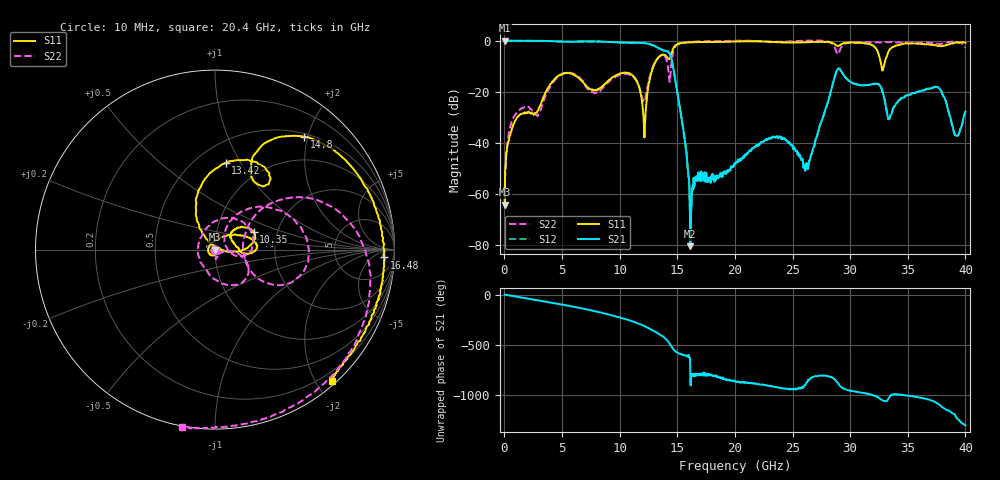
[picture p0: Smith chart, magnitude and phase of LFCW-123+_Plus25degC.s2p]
! Mini-Circuits
! S2P DATA File Format
! Type: LOW PASS FILTER
! Model: LFCW-123+
! All S Parameters are in dB deg format
! TEST CONDITIONS: INPUT POWER = 0 dBm @ Temperature = +25 deg C
# MHZ S DB R 50
!Frequency  S11 dB  S11 DEG  S21 dB  S21 DEG  S12 dB  S12 DEG  S22 dB  S22 DEG
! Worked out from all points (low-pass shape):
!   834 points, 10 MHz to 40 GHz, reference 50 ohm
!   highest |S21| = 0.13 dB at 50 MHz (marker M1); lowest = -80.6 dB at 16.12 GHz (marker M2)
!   |S21| within 3 dB of the highest: start of sweep to 13.38 GHz
!   lowest |S11| = -64.4 dB at 30 MHz (marker M3), VSWR 1.00, Z = 50 - j0.0435 ohm
!   |S11| at or under -10 dB: start of sweep to 12.93 GHz; 32.72 GHz to 32.93 GHz (205.1 MHz wide, 0.625 % of centre)
!   |S22| runs from -65.1 to 0.2 dB; largest |S21 - S12| = 0.0041
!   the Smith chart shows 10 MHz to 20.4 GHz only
!   S11 on the Smith chart (normalised r, x): 10 MHz: 1.00, -0.00; 10.35 GHz: 1.51, +0.31; 13.42 GHz: 0.68, +0.87; 14.8 GHz: 0.55, +1.94; 16.48 GHz: 21, -16; 20.4 GHz: 0.07, -2.23
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10  -61.23 -80.6  0.06 -0.0  0.06 -0.0  -59.06 -83.4
30  -64.35 -45.9  0.07 -0.6  0.06 -0.6  -65.06 -33.2
50  -51.17 157.8  0.13 -1.3  0.10 -1.3  -53.61 146.4
1050  -30.50 -96.1  0.03 -21.1  0.03 -21.1  -28.25 -67.8
6700  -15.71 -7.5  -0.24 -137.1  -0.26 -137.1  -15.27 -87.0
10350  -12.51 24.1  -0.68 119.7  -0.69 119.7  -12.93 33.8
11550  -16.55 -2.0  -0.76 74.0  -0.78 74.0  -16.69 -14.5
12140  -37.91 53.4  -0.88 45.4  -0.89 45.2  -23.55 31.4
13340  -6.65 86.8  -2.75 -29.3  -2.78 -29.3  -6.58 21.1
13420  -6.23 82.9  -2.96 -34.8  -2.98 -34.8  -6.24 15.6
14340  -7.09 61.6  -4.99 -131.3  -5.00 -131.3  -16.14 4.3
14800  -1.91 51.6  -14.61 156.4  -14.68 156.6  -2.46 12.7
15760  -0.68 13.9  -42.59 109.7  -42.77 109.4  -0.53 -35.7
16120  -0.59 5.3  -80.63 -59.3  -78.99 -52.9  -0.38 -46.5
16480  -0.52 -2.6  -57.02 -73.9  -56.96 -76.1  -0.29 -55.7
20050  -0.25 -48.0  -48.33 -147.3  -48.41 -148.3  0.00 -98.9
20400  -0.19 -48.3  -46.43 -157.4  -46.50 -158.8  0.07 -100.6
26700  -0.43 -117.9  -43.70 -106.2  -43.84 -104.9  0.12 176.6
29000  -1.96 -122.6  -10.78 -175.8  -10.84 -175.9  -4.92 -174.3
33400  -3.63 -115.7  -30.67 55.9  -30.65 56.2  -0.53 126.0
37400  -1.65 163.9  -18.03 5.3  -18.14 4.8  -1.01 68.8
40000  -0.73 144.6  -27.82 133.1  -27.79 132.3  -2.69 64.3
